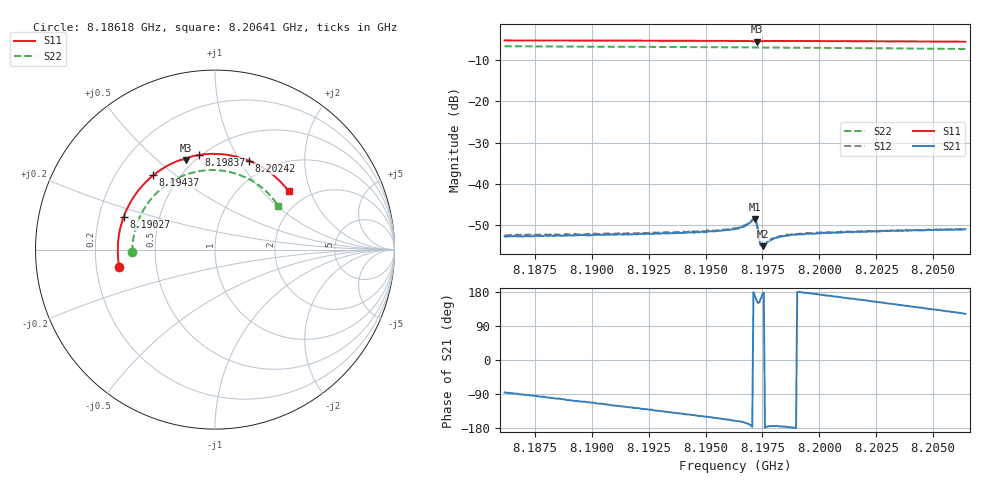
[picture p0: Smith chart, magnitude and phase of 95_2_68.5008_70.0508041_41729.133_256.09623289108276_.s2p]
#  HZ  S  RI  R  50.00
! Rohde & Schwarz Vector Network Analyzer
! Rohde-Schwarz,ZNB20-2Port,1311601062101988,3.16
! Created: UTC 3/20/2024, 5:07:58 PM
! freq[Hz]  re:S11  im:S11  re:S21  im:S21  re:S12  im:S12  re:S22  im:S22
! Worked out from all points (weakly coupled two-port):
!   401 points, 8.18618 GHz to 8.20641 GHz, reference 50 ohm
!   highest |S21| = -48.48 dB at 8.19716 GHz (marker M1); lowest = -55.1 dB at 8.19751 GHz (marker M2)
!   lowest |S11| = -5.6 dB at 8.19726 GHz (marker M3), VSWR 3.20, Z = 22.7 + j31.1 ohm
!   |S11| at or under -10 dB: nowhere
!   |S22| runs from -7.4 to -6.7 dB; largest |S21 - S12| = 0.00018
!   S11 on the Smith chart (normalised r, x): 8.18618 GHz: 0.30, -0.08; 8.19027 GHz: 0.31, +0.16; 8.19437 GHz: 0.36, +0.42; 8.19837 GHz: 0.49, +0.72; 8.20242 GHz: 0.80, +1.10; 8.20641 GHz: 1.61, +1.44
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8.186176e9  -0.533 -0.0996  0.00018 -0.00232  0.00017 -0.00238  -0.4604 -0.014
8.187896e9  -0.5413 0.02  -0.000281 -0.00234  -0.000405 -0.0024  -0.4517 0.0812
8.189566e9  -0.5238 0.1354  -0.000805 -0.00226  -0.000876 -0.00229  -0.4243 0.1696
8.190274e9  -0.5088 0.1827  -0.00102 -0.00219  -0.00108 -0.00222  -0.4073 0.2053
8.192956e9  -0.4148 0.3446  -0.00176 -0.00181  -0.00186 -0.0018  -0.317 0.3235
8.194373e9  -0.3437 0.4144  -0.00214 -0.00148  -0.00224 -0.00143  -0.2548 0.3721
8.195334e9  -0.2884 0.4537  -0.00237 -0.00122  -0.00245 -0.0012  -0.2078 0.3986
8.196295e9  -0.2278 0.4856  -0.00269 -0.000967  -0.00278 -0.00091  -0.1578 0.4192
8.1967e9  -0.2003 0.4966  -0.00294 -0.000786  -0.00307 -0.000751  -0.1361 0.4258
8.197054e9  -0.1731 0.5024  -0.00361 -0.000206  -0.00368 -7.53e-05  -0.1168 0.4309
8.197156e9  -0.1656 0.5006  -0.00373 0.000536  -0.0038 0.000656  -0.1111 0.4322
8.197206e9  -0.1634 0.4986  -0.00348 0.00102  -0.00354 0.00118  -0.1085 0.4328
8.197257e9  -0.1634 0.4975  -0.00293 0.00135  -0.00294 0.0015  -0.1058 0.4333
8.197409e9  -0.1608 0.5051  -0.00173 0.000651  -0.00175 0.000705  -0.0974 0.4351
8.197459e9  -0.1575 0.5077  -0.00173 0.000385  -0.00175 0.000464  -0.0947 0.4357
8.19751e9  -0.1539 0.5099  -0.00176 0.000173  -0.00179 0.000283  -0.0919 0.4362
8.197915e9  -0.1244 0.5202  -0.00213 -0.000211  -0.00214 -0.000153  -0.0692 0.4398
8.19837e9  -0.0918 0.5269  -0.00231 -0.000178  -0.00235 -9.99e-05  -0.0434 0.4423
8.199686e9  0.00146 0.5335  -0.00248 0.000223  -0.00251 0.000353  0.0313 0.4408
8.202418e9  0.1898 0.4948  -0.00241 0.00116  -0.00241 0.00128  0.1807 0.3976
8.203076e9  0.2321 0.4756  -0.00229 0.00139  -0.0023 0.00147  0.2136 0.3792
8.206415e9  0.4114 0.3241  -0.00149 0.0024  -0.00144 0.00245  0.3518 0.2439
